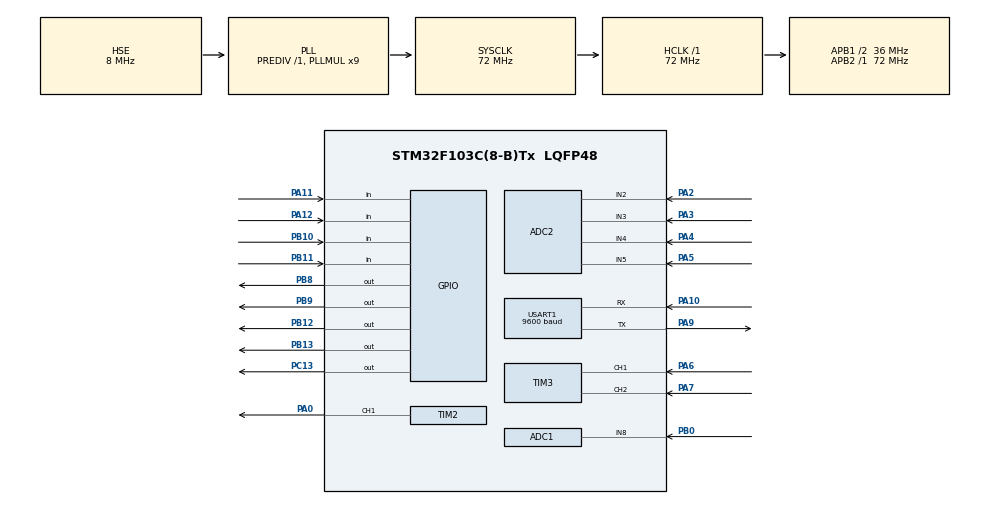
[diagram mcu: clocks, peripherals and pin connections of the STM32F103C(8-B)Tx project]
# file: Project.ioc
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ADC1.Channel-0\#ChannelRegularConversion=ADC_CHANNEL_8
ADC1.NbrOfConversionFlag=1
ADC1.Rank-0\#ChannelRegularConversion=1
ADC1.SamplingTime-0\#ChannelRegularConversion=ADC_SAMPLETIME_1CYCLE_5
ADC1.master=1
ADC2.Channel-0\#ChannelRegularConversion=ADC_CHANNEL_2
ADC2.NbrOfConversionFlag=1
ADC2.Rank-0\#ChannelRegularConversion=1
ADC2.SamplingTime-0\#ChannelRegularConversion=ADC_SAMPLETIME_55CYCLES_5
Mcu.Family=STM32F1
Mcu.Name=STM32F103C(8-B)Tx
Mcu.Package=LQFP48
NVIC.PriorityGroup=NVIC_PRIORITYGROUP_2
NVIC.TIM1_UP_IRQn=true\:2\:1\:true\:false\:true\:true\:true\:true
NVIC.USART1_IRQn=true\:1\:1\:true\:false\:true\:true\:true\:true
PA0-WKUP.Signal=S_TIM2_CH1_ETR
PA10.Mode=Asynchronous
PA10.Signal=USART1_RX
PA11.GPIO_PuPd=GPIO_PULLUP
PA11.Signal=GPIO_Input
PA12.GPIO_PuPd=GPIO_PULLUP
PA12.Signal=GPIO_Input
PA13.Mode=Serial_Wire
PA13.Signal=SYS_JTMS-SWDIO
PA14.Mode=Serial_Wire
PA14.Signal=SYS_JTCK-SWCLK
PA2.Signal=ADCx_IN2
PA3.Signal=ADCx_IN3
PA4.Signal=ADCx_IN4
PA5.Signal=ADCx_IN5
PA6.Signal=S_TIM3_CH1
PA7.Signal=S_TIM3_CH2
PA9.Mode=Asynchronous
PA9.Signal=USART1_TX
PB0.Signal=ADCx_IN8
PB10.GPIO_PuPd=GPIO_PULLUP
PB10.Signal=GPIO_Input
PB11.GPIO_PuPd=GPIO_PULLUP
PB11.Signal=GPIO_Input
PB12.GPIO_Speed=GPIO_SPEED_FREQ_HIGH
PB12.PinState=GPIO_PIN_SET
PB12.Signal=GPIO_Output
PB13.GPIO_ModeDefaultOutputPP=GPIO_MODE_OUTPUT_PP
PB13.GPIO_PuPd=GPIO_NOPULL
PB13.GPIO_Speed=GPIO_SPEED_FREQ_HIGH
PB13.PinState=GPIO_PIN_SET
PB13.Signal=GPIO_Output
PB8.GPIO_ModeDefaultOutputPP=GPIO_MODE_OUTPUT_OD
PB8.GPIO_PuPd=GPIO_NOPULL
PB8.GPIO_Speed=GPIO_SPEED_FREQ_HIGH
PB8.PinState=GPIO_PIN_SET
PB8.Signal=GPIO_Output
PB9.GPIO_ModeDefaultOutputPP=GPIO_MODE_OUTPUT_OD
PB9.GPIO_PuPd=GPIO_NOPULL
PB9.GPIO_Speed=GPIO_SPEED_FREQ_HIGH
PB9.PinState=GPIO_PIN_SET
PB9.Signal=GPIO_Output
PC13-TAMPER-RTC.GPIO_Speed=GPIO_SPEED_FREQ_HIGH
PC13-TAMPER-RTC.PinState=GPIO_PIN_SET
PC13-TAMPER-RTC.Signal=GPIO_Output
PC14-OSC32_IN.Mode=LSE-External-Oscillator
PC14-OSC32_IN.Signal=RCC_OSC32_IN
PC15-OSC32_OUT.Mode=LSE-External-Oscillator
PC15-OSC32_OUT.Signal=RCC_OSC32_OUT
PD0-OSC_IN.Mode=HSE-External-Oscillator
PD0-OSC_IN.Signal=RCC_OSC_IN
PD1-OSC_OUT.Mode=HSE-External-Oscillator
PD1-OSC_OUT.Signal=RCC_OSC_OUT
ProjectManager.HeapSize=0x200
ProjectManager.StackSize=0x400
ProjectManager.TargetToolchain=CMake
RCC.AHBFreq_Value=72000000
RCC.APB1CLKDivider=RCC_HCLK_DIV2
RCC.APB1Freq_Value=36000000
RCC.APB1TimFreq_Value=72000000
RCC.APB2Freq_Value=72000000
RCC.APB2TimFreq_Value=72000000
RCC.HCLKFreq_Value=72000000
RCC.PLLMUL=RCC_PLL_MUL9
RCC.PLLSourceVirtual=RCC_PLLSOURCE_HSE
RCC.SYSCLKFreq_VALUE=72000000
RCC.SYSCLKSource=RCC_SYSCLKSOURCE_PLLCLK
RCC.USBFreq_Value=72000000
SH.ADCx_IN2.0=ADC2_IN2,IN2
SH.ADCx_IN3.0=ADC2_IN3,IN3
SH.ADCx_IN4.0=ADC2_IN4,IN4
SH.ADCx_IN5.0=ADC2_IN5,IN5
SH.ADCx_IN8.0=ADC1_IN8,IN8
SH.S_TIM2_CH1_ETR.0=TIM2_CH1,PWM Generation1 CH1
SH.S_TIM3_CH1.0=TIM3_CH1,Encoder_Interface
SH.S_TIM3_CH2.0=TIM3_CH2,Encoder_Interface
TIM1.AutoReloadPreload=TIM_AUTORELOAD_PRELOAD_DISABLE
TIM1.Period=10000-1
TIM1.Prescaler=72-1
TIM2.Channel-PWM\ Generation1\ CH1=TIM_CHANNEL_1
TIM2.Period=100-1
TIM2.Prescaler=36-1
TIM3.IC1Filter=0xf
TIM3.IC1Polarity=TIM_ICPOLARITY_RISING
TIM3.IC2Filter=0xf
TIM3.IC2Polarity=TIM_ICPOLARITY_FALLING
USART1.BaudRate=9600
USART1.VirtualMode=VM_ASYNC
VP_TIM1_VS_ClockSourceINT.Mode=Internal
VP_TIM2_VS_ClockSourceINT.Mode=Internal
board=custom

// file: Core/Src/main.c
/* USER CODE BEGIN Header */
/**
  ******************************************************************************
  * @file           : main.c
  * @brief          : Main program body
  ******************************************************************************
  * @attention
  *
  * Copyright (c) 2026 STMicroelectronics.
  * All rights reserved.
  *
  * This software is licensed under terms that can be found in the LICENSE file
  * in the root directory of this software component.
  * If no LICENSE file comes with this software, it is provided AS-IS.
  *
  ******************************************************************************
  */
/* USER CODE END Header */
#include "main.h"
#include "adc.h"
#include "tim.h"
#include "usart.h"
#include "gpio.h"

/* USER CODE BEGIN Includes */
#include "OLED.h"
#include "LED.h"
#include "OLED_Data.h"
#include "Timer.h"
#include "Key.h"
#include "RP.h"
#include "Motor.h"
#include "PWM.h"
#include "Encoder.h"
#include "Serial.h"
#include "AD.h"
#include "pid.h"
#include <stdint.h>
#include <math.h>
/* USER CODE END Includes */

/* USER CODE BEGIN PD */
#define CENTER_ANGLE 2057
#define CENTER_RANGE 750 //可调控区间
#define START_PWM 35
#define START_TIME 100
#define OFFSET_PWM 5
/* USER CODE END PD */

/* USER CODE BEGIN PV */
uint8_t KeyNum;
uint8_t RunState;//运行状态，范围：0~1，0为停止，1为运行
uint16_t Angle;//角度值，范围：0~4096
int16_t Speed,Location;

//内环pid
PIDController Angle_pid = {
    .Target = CENTER_ANGLE,
    .Kp = 0.3,
    .Ki = 0.01,
    .Kd = 0.4,
    .OutMax = 100,
    .OutMin = -100,
    .Difout = 0,
};

//外环pid
PIDController Location_pid = {
    .Target = 0,
    .Kp = 1.0,
    .Ki = 0.005,
    .Kd = 16,
    .OutMax = 100,
    .OutMin = -100,
    .Difout = 0,
};
/* USER CODE END PV */

void SystemClock_Config(void);

int main(void)
{

  /* MCU Configuration--------------------------------------------------------*/

  /* Reset of all peripherals, Initializes the Flash interface and the Systick. */
  HAL_Init();

  /* Configure the system clock */
  SystemClock_Config();

  /* Initialize all configured peripherals */
  MX_GPIO_Init();
  MX_TIM1_Init();
  MX_ADC2_Init();
  MX_TIM2_Init();
  MX_TIM3_Init();
  MX_USART1_UART_Init();
  MX_ADC1_Init();
  /* USER CODE BEGIN 2 */
  OLED_Init();	//调用OLED初始化函数，需先初始化GPIO
  LED_Init();	//调用LED初始化函数
  //Key_Init();	//已在MX_GPIO_Init()中初始化了按键引脚
  RP_Init();	//调用RP初始化函数
  AD_Init();	//调用AD初始化函数
  Motor_Init();	//调用直流电机初始化函数
  Encoder_Init();	//调用编码器初始化函数
  Timer_Init();	//调用定时器初始化函数
  //Serial_Init();	//调用串口初始化函数

  /* USER CODE END 2 */

  /* Infinite loop */
  /* USER CODE BEGIN WHILE */

  while (1)
  {
    KeyNum = Key_GetNum();
    if (KeyNum == 1)
		{
      if(RunState == 0)
			{
        RunState = 21;//按键1按下，切换起摆状态
      }
      else
      {
        RunState = 0;//按键1按下，切换停止状态
      }
		}
    if (KeyNum == 2)//左转一圈
    {
      Location_pid.Target -= 202;
    }
    if (KeyNum == 3)//右转一圈
    {
      Location_pid.Target += 202;
    }

    // LED指示倒立摆运动状态
    if(RunState == 4)
    {
      LED_ON();
    }
    else
    {
      LED_OFF();
    }
    // Angle_pid.Kp = RP_GetValue(1) / 4095.0 * 2;//设定Kp的范围为0~2
    // Angle_pid.Ki = RP_GetValue(2) / 4095.0 * 2;
    // Angle_pid.Kd = RP_GetValue(3) / 4095.0 * 2;

    // Location_pid.Kp = RP_GetValue(1) / 4095.0 * 2;//设定Kp的范围为0~2
    // Location_pid.Ki = RP_GetValue(2) / 4095.0 * 2;
    // Location_pid.Kd = RP_GetValue(3) / 4095.0 * 5;

    OLED_Printf(0, 0, OLED_6X8, "Angle:");
    OLED_Printf(0, 12, OLED_6X8, "Kp:");
    OLED_ShowFloatNum(18, 12, Angle_pid.Kp, 1, 3, OLED_6X8);
    OLED_Printf(0, 20, OLED_6X8, "Ki:");
    OLED_ShowFloatNum(18, 20, Angle_pid.Ki, 1, 3, OLED_6X8);
    OLED_Printf(0, 28, OLED_6X8, "Kd:");
    OLED_ShowFloatNum(18, 28, Angle_pid.Kd, 1, 3, OLED_6X8);
	  OLED_Printf(0, 40, OLED_6X8, "Tar:");
    OLED_ShowNum(24, 40, (int16_t)Angle_pid.Target, 4,  OLED_6X8);
    OLED_Printf(0, 48, OLED_6X8, "Act:");
    OLED_ShowNum(24, 48, (int16_t)Angle, 4,  OLED_6X8);
    OLED_Printf(0, 56, OLED_6X8, "Out:");
    OLED_ShowSignedNum(24, 56, (int16_t)Angle_pid.Out, 3,  OLED_6X8);

    OLED_Printf(64, 0, OLED_6X8, "Location:");
    OLED_Printf(64, 12, OLED_6X8, "Kp:");
    OLED_ShowFloatNum(82, 12, Location_pid.Kp, 1, 3, OLED_6X8);
    OLED_Printf(64, 20, OLED_6X8, "Ki:");
    OLED_ShowFloatNum(82, 20, Location_pid.Ki, 1, 3, OLED_6X8);
    OLED_Printf(64, 28, OLED_6X8, "Kd:");
    OLED_ShowFloatNum(82, 28, Location_pid.Kd, 1, 3, OLED_6X8);
	  OLED_Printf(64, 40, OLED_6X8, "Tar:");
    OLED_ShowSignedNum(82, 40, (int16_t)Location_pid.Target, 4,  OLED_6X8);
    OLED_Printf(64, 48, OLED_6X8, "Act:");
    OLED_ShowSignedNum(82, 48, (int16_t)Location, 4,  OLED_6X8);
    OLED_Printf(64, 56, OLED_6X8, "Out:");
    OLED_ShowSignedNum(82, 56, (int16_t)Location_pid.Out, 3,  OLED_6X8);

	  OLED_Update();

    Serial_Printf("%d,%d,%d,%d\r\n", (int16_t)Angle_pid.Target, (int16_t)Angle, (int16_t)Angle_pid.Out, (int16_t)Angle_pid.Difout);
    /* USER CODE END WHILE */

  }
}

void SystemClock_Config(void)
{
  RCC_OscInitTypeDef RCC_OscInitStruct = {0};
  RCC_ClkInitTypeDef RCC_ClkInitStruct = {0};
  RCC_PeriphCLKInitTypeDef PeriphClkInit = {0};

  /** Initializes the RCC Oscillators according to the specified parameters
  * in the RCC_OscInitTypeDef structure.
  */
  RCC_OscInitStruct.OscillatorType = RCC_OSCILLATORTYPE_HSE;
  RCC_OscInitStruct.HSEState = RCC_HSE_ON;
  RCC_OscInitStruct.HSEPredivValue = RCC_HSE_PREDIV_DIV1;
  RCC_OscInitStruct.HSIState = RCC_HSI_ON;
  RCC_OscInitStruct.PLL.PLLState = RCC_PLL_ON;
  RCC_OscInitStruct.PLL.PLLSource = RCC_PLLSOURCE_HSE;
  RCC_OscInitStruct.PLL.PLLMUL = RCC_PLL_MUL9;
  if (HAL_RCC_OscConfig(&RCC_OscInitStruct) != HAL_OK)
  {
    Error_Handler();
  }

  /** Initializes the CPU, AHB and APB buses clocks
  */
  RCC_ClkInitStruct.ClockType = RCC_CLOCKTYPE_HCLK|RCC_CLOCKTYPE_SYSCLK
                              |RCC_CLOCKTYPE_PCLK1|RCC_CLOCKTYPE_PCLK2;
  RCC_ClkInitStruct.SYSCLKSource = RCC_SYSCLKSOURCE_PLLCLK;
  RCC_ClkInitStruct.AHBCLKDivider = RCC_SYSCLK_DIV1;
  RCC_ClkInitStruct.APB1CLKDivider = RCC_HCLK_DIV2;
  RCC_ClkInitStruct.APB2CLKDivider = RCC_HCLK_DIV1;

  if (HAL_RCC_ClockConfig(&RCC_ClkInitStruct, FLASH_LATENCY_2) != HAL_OK)
  {
    Error_Handler();
  }
  PeriphClkInit.PeriphClockSelection = RCC_PERIPHCLK_ADC;
  PeriphClkInit.AdcClockSelection = RCC_ADCPCLK2_DIV2;
  if (HAL_RCCEx_PeriphCLKConfig(&PeriphClkInit) != HAL_OK)
  {
    Error_Handler();
  }
}

/* USER CODE BEGIN 4 */
void HAL_TIM_PeriodElapsedCallback(TIM_HandleTypeDef *htim)
{
  static uint16_t Count1 = 0, Count2 = 0,Count3 = 0;
  static int16_t Counttime;
  static int16_t Angle0, Angle1, Angle2;
  // 1. 判断是哪个定时器触发的中断
  if (htim->Instance == TIM1)
  {
    Key_Tick();

    Angle = AD_GetValue();
    Speed = Encoder_Get();
    Location += Speed;

    //状态机
    if (RunState == 0) // 停止状态下，电机不运行
    {
      Motor_SetPWM(0);
    }
    else if (RunState == 1)
    {
      Count3++;
      if (Count3 == 40)
      {
        Count3 = 0;
        // 读取角度值
        Angle2 = Angle1;
        Angle1 = Angle0;
        Angle0 = Angle;

        if(Angle0 > CENTER_ANGLE + CENTER_RANGE
        && Angle1 > CENTER_ANGLE + CENTER_RANGE
        && Angle2 > CENTER_ANGLE + CENTER_RANGE
        && Angle1 < Angle0
        && Angle1 < Angle2)
        {
          RunState = 21; // 切换到左起摆状态
        }
        if(Angle0 < CENTER_ANGLE - CENTER_RANGE
        && Angle1 < CENTER_ANGLE - CENTER_RANGE
        && Angle2 < CENTER_ANGLE - CENTER_RANGE
        && Angle1 > Angle0
        && Angle1 > Angle2)
        {
          RunState = 31; // 切换到右摆状态
        }

        //达到中心稳定区间
        if(Angle0 > CENTER_ANGLE - CENTER_RANGE
        && Angle0 < CENTER_ANGLE + CENTER_RANGE
        && Angle1 > CENTER_ANGLE - CENTER_RANGE
        && Angle1 < CENTER_ANGLE + CENTER_RANGE)
        {
          Location = 0; // 重置位置
          Location_pid.Target = 0;
          RunState = 4; // 切换到PID模式
        }
      }
    }
    //21~24为左起摆
    else if (RunState == 21)
    {
      Motor_SetPWM(START_PWM);
      Counttime = START_TIME;
      RunState = 22;
    }
    else if (RunState == 22)
    {
      Counttime--;
      if (Counttime <= 0)
      {
        RunState = 23; // 切换到下一个状态
      }
    }
    else if (RunState == 23)
    {
      Motor_SetPWM(-START_PWM);
      Counttime = START_TIME; // 重置计时器
      RunState = 24;
    }
    else if (RunState == 24)
    {
      Counttime--;
      if (Counttime <= 0)
      {
        Motor_SetPWM(0); // 停止电机
        RunState = 1;
      }
    }
    //31~34为右起摆
    else if (RunState == 31)
    {
      Motor_SetPWM(-START_PWM);
      Counttime = START_TIME;
      RunState = 32;
    }
    else if (RunState == 32)
    {
      Counttime--;
      if (Counttime <= 0)
      {
        RunState = 33; // 切换到下一个状态
      }
    }
    else if (RunState == 33)
    {
      Motor_SetPWM(START_PWM);
      Counttime = START_TIME; // 重置计时器
      RunState = 34;
    }
    else if (RunState == 34)
    {
      Counttime--;
      if (Counttime <= 0)
      {
        Motor_SetPWM(0); // 停止电机
        RunState = 1;
      }
    }
    //4为pid模式
    else if (RunState == 4)
    {
      //判断是否倒下
      if (Angle < CENTER_ANGLE - CENTER_RANGE || Angle > CENTER_ANGLE + CENTER_RANGE)
      {
        RunState = 0; // 如果角度超出可控范围，停止运行
      }
      //pid计算
      Count2++;
      if (Count2 >= 50) // 每20次中断计算一次外环
      {
        Count2 = 0;
        Location_pid.Actual = Location;
        PID_Update(&Location_pid);
        Angle_pid.Target = CENTER_ANGLE - Location_pid.Out ;// 外环输出作为内环目标角度
      }

      Count1++;
      if (Count1 >= 5) // 每5次中断计算一次PID
      {
        Count1 = 0;
        Angle_pid.Actual = Angle;
        PID_Update(&Angle_pid);
        Motor_SetPWM(Angle_pid.Out);
      }
    }

  }
}

/* USER CODE END 4 */

void Error_Handler(void)
{
  __disable_irq();
  while (1)
  {
  }
}
